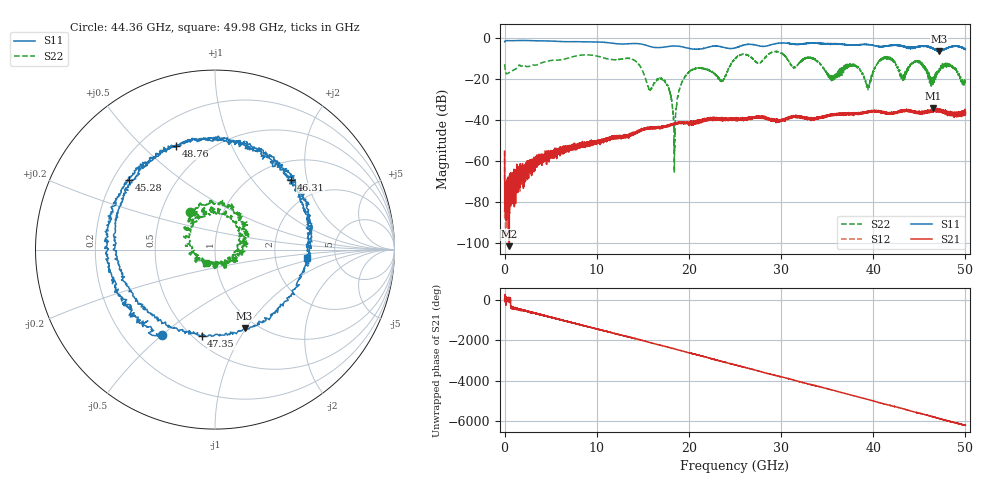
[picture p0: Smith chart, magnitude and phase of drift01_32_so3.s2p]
!Created with skrf (http://scikit-rf.org).
# Hz S RI R 50.0
!freq ReS11 ImS11 ReS21 ImS21 ReS12 ImS12 ReS22 ImS22
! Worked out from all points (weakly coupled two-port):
!   10001 points, 300 kHz to 50 GHz, reference 50 ohm
!   highest |S21| = -34.24 dB at 46.47 GHz (marker M1); lowest = -101.4 dB at 510.3 MHz (marker M2)
!   lowest |S11| = -6.6 dB at 47.15 GHz (marker M3), VSWR 2.75, Z = 44 - j49.2 ohm
!   |S11| at or under -10 dB: nowhere
!   |S22| runs from -65.6 to -6.6 dB; largest |S21 - S12| = 0.004
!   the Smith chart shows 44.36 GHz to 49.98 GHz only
!   S11 on the Smith chart (normalised r, x): 44.36 GHz: 0.36, -0.50; 45.28 GHz: 0.26, +0.33; 46.31 GHz: 1.39, +1.60; 47.35 GHz: 0.55, -0.70; 48.76 GHz: 0.34, +0.63; 49.98 GHz: 3.07, -0.38
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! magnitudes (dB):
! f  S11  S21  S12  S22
! 300 kHz  -2.0  -55.4  -54.8  -12.9
! 510.3 MHz  -1.5  -101.4  -76.1  -17.0
! 8.335 GHz  -1.9  -52.3  -52.1  -8.5
! 16.67 GHz  -4.8  -43.8  -43.4  -19.9
! 17.74 GHz  -4.3  -43.2  -42.6  -23.8
! 18.44 GHz  -4.1  -42.0  -41.9  -52.2
! 19.89 GHz  -5.1  -41.6  -41.4  -17.1
! 23.6 GHz  -4.5  -39.6  -39.5  -20.7
! 25 GHz  -5.0  -40.1  -39.4  -10.3
! 33.34 GHz  -2.6  -39.3  -39.7  -10.1
! 39.44 GHz  -3.4  -36.1  -35.9  -24.7
! 41.67 GHz  -3.9  -36.7  -37.1  -9.9
! 43.19 GHz  -4.3  -35.5  -35.7  -18.6
! 44.36 GHz  -5.0  -36.1  -36.1  -12.0
! 45.28 GHz  -4.2  -36.2  -36.6  -12.5
! 46.31 GHz  -4.8  -35.3  -35.6  -20.7
! 46.47 GHz  -5.2  -34.2  -35.4  -20.0
! 47.15 GHz  -6.6  -35.9  -35.4  -15.4
! 47.35 GHz  -6.2  -35.6  -35.2  -13.9
! 48.76 GHz  -4.2  -37.1  -37.1  -15.1
! 49.98 GHz  -5.8  -34.7  -35.7  -21.1
! 50 GHz  -5.6  -36.0  -36.1  -21.5
